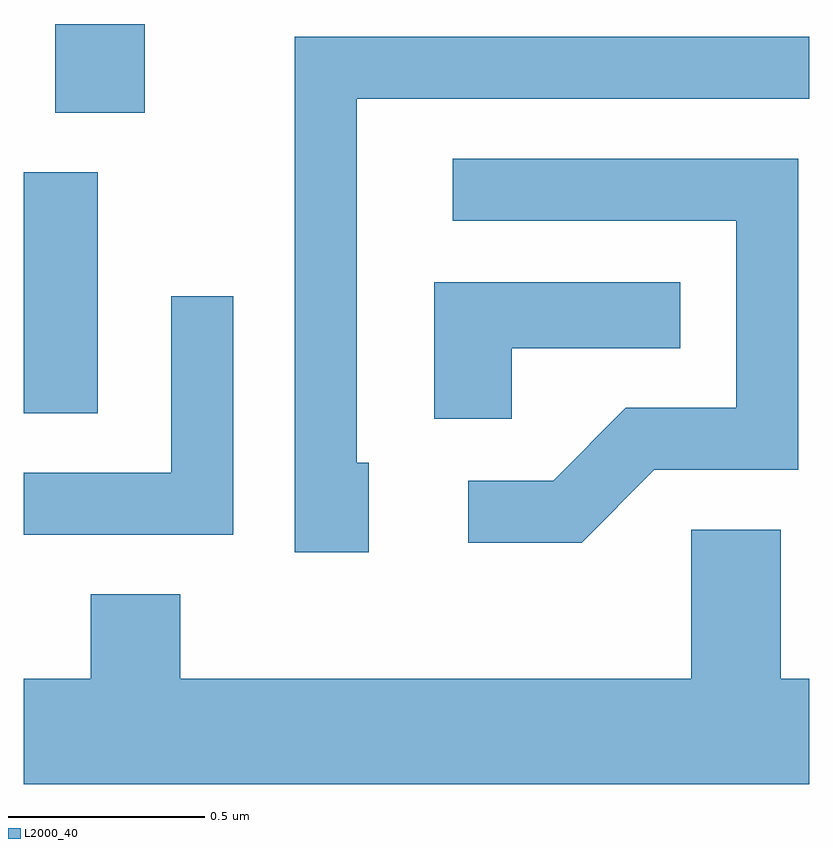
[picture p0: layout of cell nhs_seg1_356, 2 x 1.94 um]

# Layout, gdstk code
import gdstk
lib = gdstk.Library(unit=1e-6, precision=1e-09)
def R(c, l, rs):  # rectangles x0, y0, x1, y1
    for r in rs: c.add(gdstk.rectangle(r[:2], r[2:], *l))
def P(c, l, *ps):  # polygons
    for p in ps: c.add(gdstk.Polygon(p, *l))
L2000_40 = (2000, 40)

nhs_seg1_356 = lib.new_cell('nhs_seg1_356')
R(nhs_seg1_356, L2000_40, [(187.611,922.721,187.799,923.334), (187.691,923.486,187.919,923.712)])
P(nhs_seg1_356, L2000_40, [(188.489,922.594),(188.459,922.594),(188.459,923.521),(189.611,923.521),(189.611,923.679),(188.301,923.679),(188.301,922.366),(188.489,922.366)],
  [(189.217,922.576),(189.584,922.576),(189.584,923.369),(188.703,923.369),(188.703,923.211),(189.426,923.211),(189.426,922.734),(189.144,922.734),(188.959,922.549),(188.743,922.549),(188.743,922.391),(189.032,922.391)],
  [(188.854,922.886),(189.283,922.886),(189.283,923.054),(188.656,923.054),(188.656,922.706),(188.854,922.706)],
  [(188.144,923.018),(187.986,923.018),(187.986,922.569),(187.611,922.569),(187.611,922.411),(188.144,922.411)],
  [(189.611,922.044),(189.539,922.044),(189.539,922.424),(189.311,922.424),(189.311,922.044),(188.009,922.044),(188.009,922.259),(187.781,922.259),(187.781,922.044),(187.611,922.044),(187.611,921.776),(189.611,921.776)])

lib.write_gds('nhs_seg1_356.gds')
